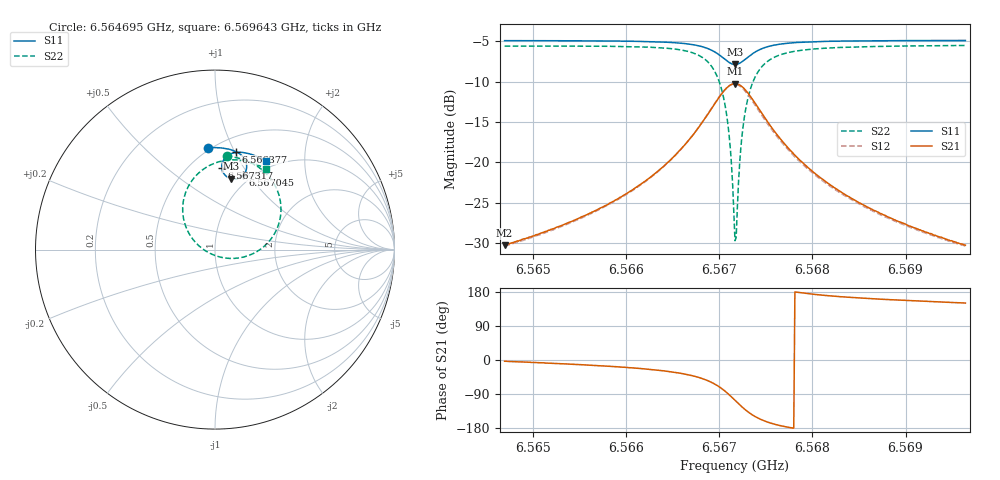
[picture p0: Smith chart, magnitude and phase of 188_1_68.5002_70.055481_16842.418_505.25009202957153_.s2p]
#  HZ  S  RI  R  50.00
! Rohde & Schwarz Vector Network Analyzer
! Rohde-Schwarz,ZNB20-2Port,1311601062101988,3.16
! Created: UTC 3/20/2024, 5:12:07 PM
! freq[Hz]  re:S11  im:S11  re:S21  im:S21  re:S12  im:S12  re:S22  im:S22
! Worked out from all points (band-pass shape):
!   401 points, 6.564695 GHz to 6.569643 GHz, reference 50 ohm
!   highest |S21| = -10.22 dB at 6.567169 GHz (marker M1); lowest = -30.3 dB at 6.564695 GHz (marker M2)
!   |S21| within 3 dB of the highest: 6.566923 GHz to 6.567417 GHz (494.3 kHz wide, 0.00753 % of centre)
!   lowest |S11| = -7.9 dB at 6.567169 GHz (marker M3), VSWR 2.36, Z = 42.6 + j40.2 ohm
!   |S11| at or under -10 dB: nowhere
!   |S22| runs from -29.7 to -5.5 dB; largest |S21 - S12| = 0.015
!   S11 on the Smith chart (normalised r, x): 6.564695 GHz: 0.48, +0.81; 6.566377 GHz: 0.64, +1.01; 6.567045 GHz: 0.91, +0.94; 6.567317 GHz: 0.70, +0.80; 6.569643 GHz: 0.89, +1.31
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6.5646949e9  -0.0367 0.568  0.0307 -0.00176  0.0302 -0.00227  0.0648 0.5224
6.5655237e9  0.0326 0.5667  0.045 -0.00998  0.0441 -0.0105  0.1473 0.5052
6.5663524e9  0.1137 0.5472  0.0797 -0.0408  0.0783 -0.0418  0.2674 0.4401
6.5663772e9  0.1165 0.546  0.0813 -0.0429  0.0802 -0.044  0.2722 0.4359
6.5666493e9  0.1502 0.5231  0.1043 -0.0816  0.1028 -0.0833  0.333 0.36
6.5668472e9  0.1733 0.4857  0.1165 -0.1473  0.1136 -0.1503  0.3676 0.2335
6.5669585e9  0.1751 0.4489  0.1009 -0.2117  0.0953 -0.2159  0.3428 0.1105
6.5670451e9  0.1572 0.4146  0.0531 -0.2702  0.0429 -0.2732  0.2539 0.00237
6.5670822e9  0.1418 0.4021  0.0182 -0.2901  0.0061 -0.2913  0.1887 -0.0322
6.567107e9  0.1288 0.3961  -0.00968 -0.2987  -0.0229 -0.298  0.1374 -0.046
6.5671565e9  0.0993 0.393  -0.0711 -0.2997  -0.0848 -0.2941  0.0268 -0.0412
6.5671688e9  0.0917 0.3944  -0.0866 -0.2959  -0.0999 -0.2893  -0.000485 -0.0327
6.5671812e9  0.0844 0.3964  -0.1017 -0.2907  -0.1146 -0.283  -0.0265 -0.0217
6.5671936e9  0.0773 0.3993  -0.116 -0.2841  -0.1282 -0.2753  -0.051 -0.00817
6.5672307e9  0.0589 0.4121  -0.1534 -0.257  -0.163 -0.2456  -0.1131 0.0448
6.5672554e9  0.0497 0.423  -0.1724 -0.235  -0.1799 -0.2225  -0.1428 0.0865
6.5673173e9  0.0383 0.4531  -0.1983 -0.1758  -0.2006 -0.1632  -0.1784 0.1935
6.5674162e9  0.0448 0.4931  -0.1953 -0.0983  -0.1932 -0.0889  -0.1598 0.3281
6.5675647e9  0.0725 0.5252  -0.16 -0.0356  -0.1565 -0.0304  -0.0838 0.4329
6.5679976e9  0.1406 0.5422  -0.0878 0.00961  -0.0857 0.0109  0.0732 0.4989
6.5688263e9  0.2218 0.5239  -0.0427 0.0161  -0.0417 0.0164  0.2053 0.4836
6.5696427e9  0.2839 0.4951  -0.0267 0.0152  -0.0262 0.0154  0.2816 0.4507
